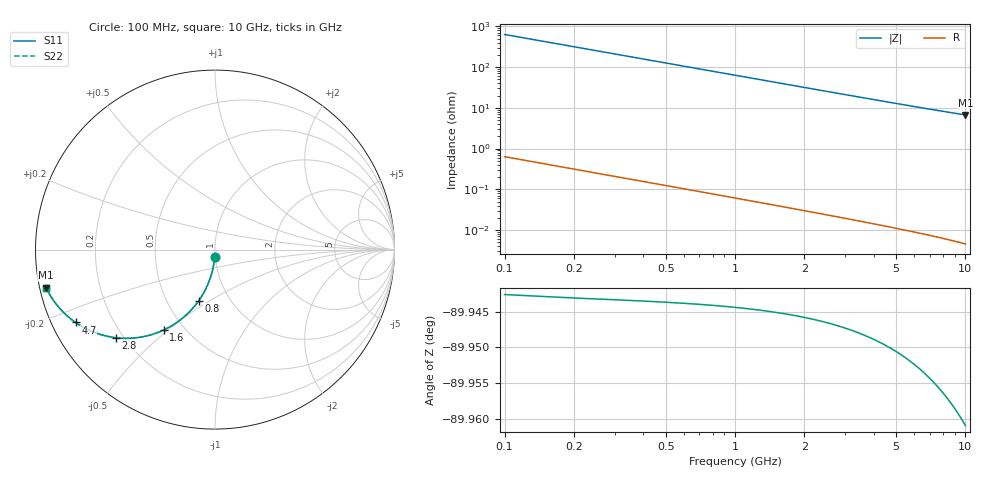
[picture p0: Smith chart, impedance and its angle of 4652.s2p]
# Hz S RI R 50.00
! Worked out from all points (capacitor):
!   100 points, 100 MHz to 10 GHz, reference 50 ohm
!   read as one part in shunt: C = 2.52 pF near 100 MHz
!   lowest |Z| = 6.71 ohm at 10 GHz (marker M1)
!   S11 on the Smith chart (normalised r, x): 100 MHz: 0.99, -0.08; 800 MHz: 0.71, -0.45; 1.6 GHz: 0.39, -0.48; 2.8 GHz: 0.17, -0.37; 4.7 GHz: 0.07, -0.24; 10 GHz: 0.02, -0.11
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1e8  -0.00153 -0.0393  0.9983 -0.0397  0.9983 -0.0397  -0.00153 -0.0393
2e8  -0.00623 -0.0783  0.9936 -0.0791  0.9936 -0.0791  -0.00623 -0.0783
3e8  -0.0139 -0.1165  0.9859 -0.1177  0.9859 -0.1177  -0.0139 -0.1165
4e8  -0.0245 -0.1536  0.9753 -0.1553  0.9753 -0.1553  -0.0245 -0.1536
5e8  -0.0378 -0.1894  0.962 -0.1914  0.962 -0.1914  -0.0378 -0.1894
6e8  -0.0535 -0.2235  0.9463 -0.226  0.9463 -0.226  -0.0535 -0.2235
8e8  -0.0913 -0.2861  0.9085 -0.2893  0.9085 -0.2893  -0.0913 -0.2861
1e9  -0.1357 -0.34  0.8641 -0.3441  0.8641 -0.3441  -0.1357 -0.34
1.2e9  -0.1843 -0.3849  0.8155 -0.3898  0.8155 -0.3898  -0.1843 -0.3849
1.4e9  -0.2352 -0.4208  0.7646 -0.4266  0.7646 -0.4266  -0.2352 -0.4208
1.6e9  -0.2866 -0.4484  0.7132 -0.455  0.7132 -0.455  -0.2866 -0.4484
1.8e9  -0.337 -0.4685  0.6628 -0.4759  0.6628 -0.4759  -0.337 -0.4685
2.3e9  -0.4536 -0.4926  0.5462 -0.5021  0.5462 -0.5021  -0.4536 -0.4926
2.8e9  -0.5517 -0.491  0.448 -0.5026  0.448 -0.5026  -0.5517 -0.491
3.4e9  -0.6449 -0.471  0.3548 -0.485  0.3548 -0.485  -0.6449 -0.471
4e9  -0.7157 -0.4422  0.284 -0.4588  0.284 -0.4588  -0.7157 -0.4422
4.7e9  -0.7768 -0.406  0.2228 -0.4255  0.2228 -0.4255  -0.7768 -0.406
5.1e9  -0.8041 -0.3856  0.1955 -0.4068  0.1955 -0.4068  -0.8041 -0.3856
5.8e9  -0.8418 -0.3521  0.1577 -0.3763  0.1577 -0.3763  -0.8418 -0.3521
6.7e9  -0.8769 -0.3136  0.1225 -0.3417  0.1225 -0.3417  -0.8769 -0.3136
8.4e9  -0.9187 -0.2543  0.0805 -0.29  0.0805 -0.29  -0.9187 -0.2543
1e10  -0.9417 -0.2112  0.0572 -0.2541  0.0572 -0.2541  -0.9417 -0.2112
